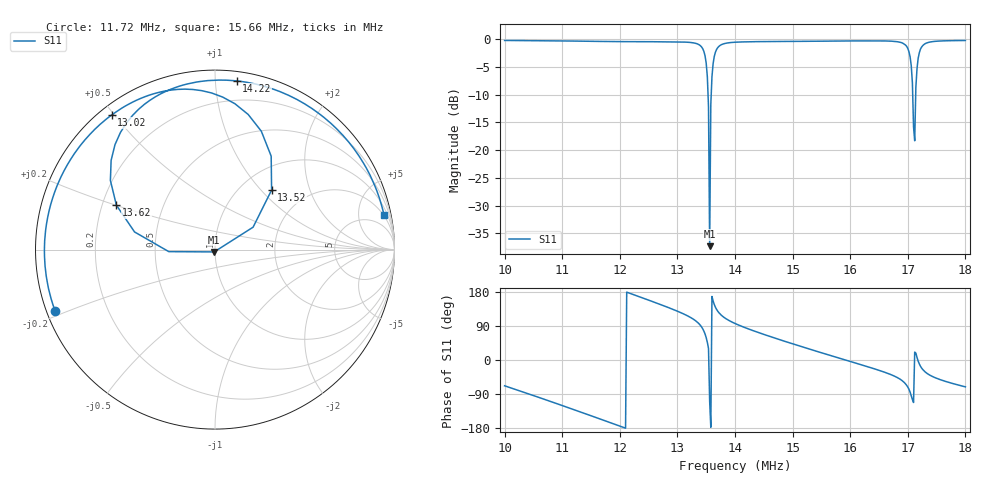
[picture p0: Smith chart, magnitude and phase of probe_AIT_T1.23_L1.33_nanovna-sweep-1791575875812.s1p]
! NanoVNA Web complex sweep
! Processing: original sample grid, no browser smoothing
# Hz S RI R 50
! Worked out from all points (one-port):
!   401 points, 10 MHz to 18 MHz, reference 50 ohm
!   lowest |S11| = -37.3 dB at 13.56 MHz (marker M1), VSWR 1.03, Z = 49.5 - j1.28 ohm
!   |S11| at or under -10 dB: 13.53193 MHz to 13.58709 MHz (55.15 kHz wide, 0.407 % of centre); 17.08527 MHz to 17.13725 MHz (51.97 kHz wide, 0.304 % of centre)
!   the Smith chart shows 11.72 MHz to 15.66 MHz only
!   S11 on the Smith chart (normalised r, x): 11.72 MHz: 0.02, -0.18; 13.02 MHz: 0.03, +0.49; 13.52 MHz: 1.37, +1.15; 13.62 MHz: 0.26, +0.20; 14.22 MHz: 0.06, +1.13; 15.66 MHz: 1.85, +9.39
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1e7  0.3636 -0.9033
1.1e7  -0.4848 -0.8343
1.172e7  -0.8913 -0.3408
1.2e7  -0.9467 -0.0929
1.3e7  -0.5928 0.7372
1.302e7  -0.5763 0.7502
1.328e7  -0.2773 0.8839
1.344e7  0.1108 0.8129
1.35e7  0.313 0.5206
1.352e7  0.3153 0.3316
1.356e7  -0.00438 -0.0129
1.36e7  -0.4483 0.0984
1.362e7  -0.5493 0.2473
1.374e7  -0.4587 0.7482
1.4e7  -0.1041 0.9332
1.422e7  0.1201 0.94
1.5e7  0.7021 0.648
1.566e7  0.9408 0.1951
1.6e7  0.9615 -0.0622
1.672e7  0.7417 -0.6083
1.69e7  0.5412 -0.7525
1.7e7  0.2633 -0.7819
1.708e7  -0.0995 -0.39
1.712e7  0.1135 0.0431
1.716e7  0.5392 0.0638
1.724e7  0.792 -0.3071
1.74e7  0.7092 -0.6258
1.8e7  0.3191 -0.9194
